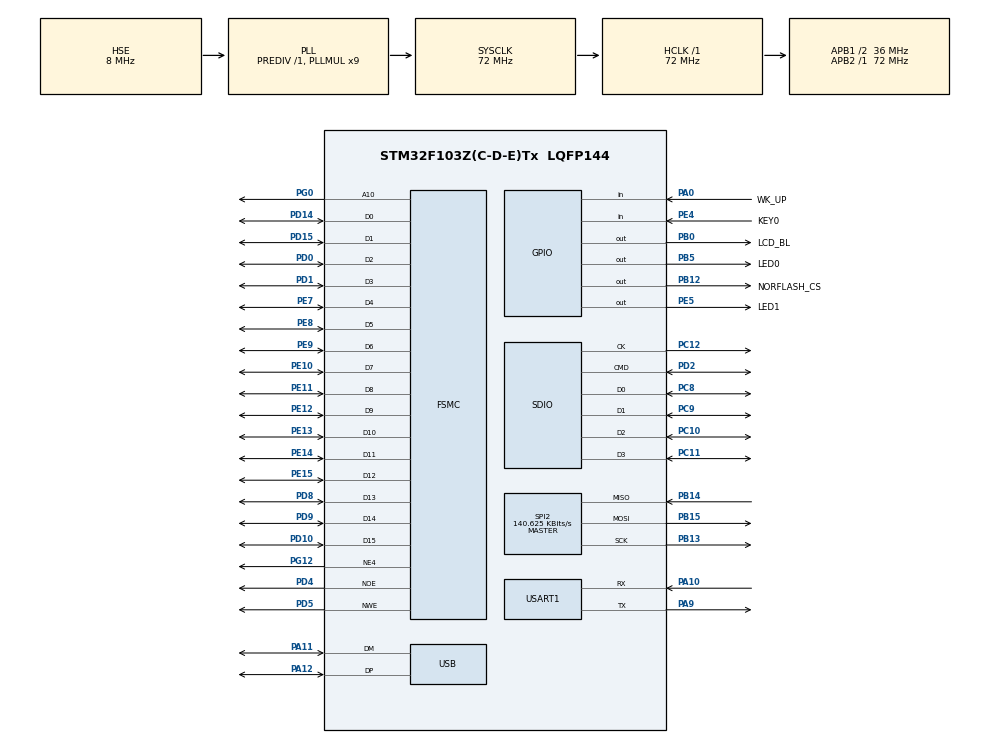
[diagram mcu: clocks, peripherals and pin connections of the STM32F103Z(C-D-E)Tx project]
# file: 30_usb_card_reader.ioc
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FSMC.AddressSetupTime1=0
FSMC.DataSetupTime1=15
FSMC.ExtendedAddressSetupTime1=0
FSMC.ExtendedDataSetupTime1=1
FSMC.ExtendedMode1=FSMC_EXTENDED_MODE_ENABLE
Mcu.Family=STM32F1
Mcu.Name=STM32F103Z(C-D-E)Tx
Mcu.Package=LQFP144
NVIC.PriorityGroup=NVIC_PRIORITYGROUP_2
NVIC.USART1_IRQn=true\:2\:2\:true\:false\:true\:true\:true\:true
NVIC.USB_LP_CAN1_RX0_IRQn=true\:0\:0\:false\:false\:true\:false\:true\:true
OSC_IN.Mode=HSE-External-Oscillator
OSC_IN.Signal=RCC_OSC_IN
OSC_OUT.Mode=HSE-External-Oscillator
OSC_OUT.Signal=RCC_OSC_OUT
PA0-WKUP.GPIO_Label=WK_UP
PA0-WKUP.GPIO_PuPd=GPIO_PULLDOWN
PA0-WKUP.Signal=GPIO_Input
PA10.Mode=Asynchronous
PA10.Signal=USART1_RX
PA11.Mode=Device
PA11.Signal=USB_DM
PA12.Mode=Device
PA12.Signal=USB_DP
PA13.Mode=Serial_Wire
PA13.Signal=SYS_JTMS-SWDIO
PA14.Mode=Serial_Wire
PA14.Signal=SYS_JTCK-SWCLK
PA9.Mode=Asynchronous
PA9.Signal=USART1_TX
PB0.GPIO_Label=LCD_BL
PB0.GPIO_PuPd=GPIO_PULLUP
PB0.GPIO_Speed=GPIO_SPEED_FREQ_HIGH
PB0.PinState=GPIO_PIN_SET
PB0.Signal=GPIO_Output
PB12.GPIO_Label=NORFLASH_CS
PB12.GPIO_PuPd=GPIO_PULLUP
PB12.GPIO_Speed=GPIO_SPEED_FREQ_HIGH
PB12.PinState=GPIO_PIN_SET
PB12.Signal=GPIO_Output
PB13.Mode=Full_Duplex_Master
PB13.Signal=SPI2_SCK
PB14.Mode=Full_Duplex_Master
PB14.Signal=SPI2_MISO
PB15.Mode=Full_Duplex_Master
PB15.Signal=SPI2_MOSI
PB5.GPIO_Label=LED0
PB5.GPIO_PuPd=GPIO_PULLDOWN
PB5.GPIO_Speed=GPIO_SPEED_FREQ_HIGH
PB5.PinState=GPIO_PIN_SET
PB5.Signal=GPIO_Output
PC10.Mode=SD_4_bits_Wide_bus
PC10.Signal=SDIO_D2
PC11.Mode=SD_4_bits_Wide_bus
PC11.Signal=SDIO_D3
PC12.Mode=SD_4_bits_Wide_bus
PC12.Signal=SDIO_CK
PC14-OSC32_IN.Mode=LSE-External-Oscillator
PC14-OSC32_IN.Signal=RCC_OSC32_IN
PC15-OSC32_OUT.Mode=LSE-External-Oscillator
PC15-OSC32_OUT.Signal=RCC_OSC32_OUT
PC8.Mode=SD_4_bits_Wide_bus
PC8.Signal=SDIO_D0
PC9.Mode=SD_4_bits_Wide_bus
PC9.Signal=SDIO_D1
PD0.Signal=FSMC_D2_DA2
PD1.Signal=FSMC_D3_DA3
PD10.Signal=FSMC_D15_DA15
PD14.Signal=FSMC_D0_DA0
PD15.Signal=FSMC_D1_DA1
PD2.Mode=SD_4_bits_Wide_bus
PD2.Signal=SDIO_CMD
PD4.Signal=FSMC_NOE
PD5.Signal=FSMC_NWE
PD8.Signal=FSMC_D13_DA13
PD9.Signal=FSMC_D14_DA14
PE10.Signal=FSMC_D7_DA7
PE11.Signal=FSMC_D8_DA8
PE12.Signal=FSMC_D9_DA9
PE13.Signal=FSMC_D10_DA10
PE14.Signal=FSMC_D11_DA11
PE15.Signal=FSMC_D12_DA12
PE4.GPIO_Label=KEY0
PE4.GPIO_PuPd=GPIO_PULLDOWN
PE4.Signal=GPIO_Input
PE5.GPIO_Label=LED1
PE5.GPIO_PuPd=GPIO_PULLDOWN
PE5.GPIO_Speed=GPIO_SPEED_FREQ_HIGH
PE5.PinState=GPIO_PIN_SET
PE5.Signal=GPIO_Output
PE7.Signal=FSMC_D4_DA4
PE8.Signal=FSMC_D5_DA5
PE9.Signal=FSMC_D6_DA6
PG0.Signal=FSMC_A10
PG12.Mode=NorPsramChipSelect4_1
PG12.Signal=FSMC_NE4
ProjectManager.HeapSize=0x200
ProjectManager.StackSize=0x400
ProjectManager.TargetToolchain=STM32CubeIDE
RCC.AHBFreq_Value=72000000
RCC.APB1CLKDivider=RCC_HCLK_DIV2
RCC.APB1Freq_Value=36000000
RCC.APB1TimFreq_Value=72000000
RCC.APB2Freq_Value=72000000
RCC.APB2TimFreq_Value=72000000
RCC.HCLKFreq_Value=72000000
RCC.PLLMUL=RCC_PLL_MUL9
RCC.PLLSourceVirtual=RCC_PLLSOURCE_HSE
RCC.SYSCLKFreq_VALUE=72000000
RCC.SYSCLKSource=RCC_SYSCLKSOURCE_PLLCLK
RCC.USBFreq_Value=48000000
RCC.USBPrescaler=RCC_USBCLKSOURCE_PLL_DIV1_5
SDIO.ClockDiv=0x06
SDIO.HardwareFlowControl=SDIO_HARDWARE_FLOW_CONTROL_ENABLE
SH.FSMC_A10.0=FSMC_A10,A10_1
SH.FSMC_D0_DA0.0=FSMC_D0,16b-d1
SH.FSMC_D10_DA10.0=FSMC_D10,16b-d1
SH.FSMC_D11_DA11.0=FSMC_D11,16b-d1
SH.FSMC_D12_DA12.0=FSMC_D12,16b-d1
SH.FSMC_D13_DA13.0=FSMC_D13,16b-d1
SH.FSMC_D14_DA14.0=FSMC_D14,16b-d1
SH.FSMC_D15_DA15.0=FSMC_D15,16b-d1
SH.FSMC_D1_DA1.0=FSMC_D1,16b-d1
SH.FSMC_D2_DA2.0=FSMC_D2,16b-d1
SH.FSMC_D3_DA3.0=FSMC_D3,16b-d1
SH.FSMC_D4_DA4.0=FSMC_D4,16b-d1
SH.FSMC_D5_DA5.0=FSMC_D5,16b-d1
SH.FSMC_D6_DA6.0=FSMC_D6,16b-d1
SH.FSMC_D7_DA7.0=FSMC_D7,16b-d1
SH.FSMC_D8_DA8.0=FSMC_D8,16b-d1
SH.FSMC_D9_DA9.0=FSMC_D9,16b-d1
SH.FSMC_NOE.0=FSMC_NOE,Lcd1
SH.FSMC_NWE.0=FSMC_NWE,Lcd1
SPI2.BaudRatePrescaler=SPI_BAUDRATEPRESCALER_256
SPI2.CLKPhase=SPI_PHASE_2EDGE
SPI2.CLKPolarity=SPI_POLARITY_HIGH
SPI2.CalculateBaudRate=140.625 KBits/s
SPI2.Direction=SPI_DIRECTION_2LINES
SPI2.Mode=SPI_MODE_MASTER
SPI2.VirtualType=VM_MASTER
USART1.VirtualMode=VM_ASYNC
USB_DEVICE.CLASS_NAME_FS=MSC
USB_DEVICE.MSC_MEDIA_PACKET=2048
USB_DEVICE.VirtualMode=Msc
USB_DEVICE.VirtualModeFS=Msc_FS
VP_USB_DEVICE_VS_USB_DEVICE_MSC_FS.Mode=MSC_FS
board=custom

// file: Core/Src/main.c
/* USER CODE BEGIN Header */
/**
 ****************************************************************************************************
 * @file        main.c
 * @author      ALIENTEK
 * @brief       usb card reader code
 * @license     Copyright (C) 2012-2024, ALIENTEK
 ****************************************************************************************************
 * @attention
 *
 * platform     : ALIENTEK M144-STM32F103 board
 * website      : www.alientek.com
 * forum        : www.openedv.com/forum.php
 *
 * change logs  :
 * version      data         notes
 * V1.0         20240410     the first version
 *
 ****************************************************************************************************
 */
/* USER CODE END Header */
#include "main.h"
#include "sdio.h"
#include "spi.h"
#include "usart.h"
#include "usb_device.h"
#include "gpio.h"
#include "fsmc.h"

/* USER CODE BEGIN Includes */
#include "usbd_msc.h"
#include "usbd_desc.h"
#include "usbd_storage_if.h"
#include "../../BSP/LED/led.h"
#include "../../BSP/KEY/key.h"
#include "../../BSP/LCD/lcd.h"
#include "../../BSP/NORFLASH/norflash.h"
#include "../../ATK_Middlewares/MALLOC/malloc.h"
/* USER CODE END Includes */

/* USER CODE BEGIN PTD */

extern uint8_t g_sd_error;
extern uint8_t g_sd_sta;
extern volatile uint8_t g_usb_state_reg;    /* USB status */
extern volatile uint8_t g_device_state;     /* USB connection condition */

/* USER CODE END PTD */

void SystemClock_Config(void);

int main(void)
{
  /* USER CODE BEGIN 1 */
    uint16_t norflash_id;
    uint8_t offline_cnt = 0;
    uint8_t t = 0;
    uint8_t usb_sta;
    uint8_t device_sta;
  /* USER CODE END 1 */

  /* MCU Configuration--------------------------------------------------------*/

  /* Reset of all peripherals, Initializes the Flash interface and the Systick. */
  HAL_Init();

  /* Configure the system clock */
  SystemClock_Config();

  /* Initialize all configured peripherals */
  MX_GPIO_Init();
  MX_USART1_UART_Init();
  MX_FSMC_Init();
  MX_SDIO_SD_Init();
  MX_USB_DEVICE_Init();
  MX_SPI2_Init();
  /* USER CODE BEGIN 2 */

  lcd_init();
  norflash_init();                    /* Initialize NOR FLASH */
  my_mem_init(SRAMIN);                /* Initialize the internal SRAM memory pool */

  lcd_show_string(30, 50, 200, 16, 16, "STM32", RED);
  lcd_show_string(30, 70, 200, 16, 16, "USB Card Reader TEST", RED);
  lcd_show_string(30, 90, 200, 16, 16, "ATOM@ALIENTEK", RED);

  if (sd_init() != 0)
  {

      lcd_show_string(30, 110, 200, 16, 16, "SD Card Error!", RED);
  }
  else
  {
      lcd_show_string(30, 110, 200, 16, 16, "SD Card Size:     MB", RED);
      lcd_show_num(134, 110, SD_TOTAL_SIZE_MB(&hsd), 5, 16, RED);
  }

  /* Detects NOR Flash */
  norflash_id = norflash_read_id();
  if ((norflash_id == 0x0000) || (norflash_id == 0xFFFF))
  {
      lcd_show_string(30, 130, 200, 16, 16, "NOR Flash Error!", RED);
  }
  else
  {
      lcd_show_string(30, 130, 200, 16, 16, "NOR Flash Size:12MB", RED);
  }

  lcd_show_string(30, 150, 200, 16, 16, "USB Connecting...", RED);    			/* Indicates that a connection is being established */
  USBD_Init(&hUsbDeviceFS, &FS_Desc, 0);                              			/* Initializes USB */
  USBD_RegisterClass(&hUsbDeviceFS, USBD_MSC_CLASS);                  			/* Adds class */
  USBD_MSC_RegisterStorage(&hUsbDeviceFS, &USBD_Storage_Interface_fops_FS);     /* Add a callback function to the MSC class */
  USBD_Start(&hUsbDeviceFS);                                           			/* Enable USB */
  HAL_Delay(1000);

  /* USER CODE END 2 */

  /* Infinite loop */
  while (1)
  {
      HAL_Delay(1);

      /* Status changed */
      if (usb_sta != g_usb_state_reg)
      {
          lcd_fill(30, 170, 240, 186, WHITE);

          /* Writing */
          if (g_usb_state_reg & 0x01)
          {
              LED1(0);
              lcd_show_string(30, 170, 200, 16, 16, "USB Writing...", RED);
          }

          /* Reading */
          if (g_usb_state_reg & 0x02)
          {
              LED1(0);
              lcd_show_string(30, 170, 200, 16, 16, "USB Reading...", RED);
          }

          /* Write error */
          if (g_usb_state_reg & 0x04)
          {
              lcd_show_string(30, 190, 200, 16, 16, "USB Write Err ", RED);
          }
          else
          {
              lcd_fill(30, 190, 240, 206, WHITE);
          }

          /* Read error */
          if (g_usb_state_reg & 0x08)
          {
              lcd_show_string(30, 210, 200, 16, 16, "USB Read  Err ", RED);
          }
          else
          {
              lcd_fill(30, 210, 240, 226, WHITE);
          }

          usb_sta = g_usb_state_reg;
      }

      /* Connection status changes */
      if (device_sta != g_device_state)
      {
          if (g_device_state == 1)
          {
              lcd_show_string(30, 150, 200, 16, 16, "USB Connected    ", RED);
          }
          else
          {
              lcd_show_string(30, 150, 200, 16, 16, "USB DisConnected ", RED);
          }

          device_sta = g_device_state;
      }

      if (++t == 200)
      {
          t = 0;
          LED1(1);
          LED0_TOGGLE();

          if (g_usb_state_reg & 0x10)
          {
              offline_cnt = 0;
              g_device_state = 1;
          }
          else
          {
              offline_cnt++;

              if (offline_cnt > 10)
              {
                  g_device_state = 0;
              }
          }

          g_usb_state_reg = 0;
      }
  }
}

void SystemClock_Config(void)
{
  RCC_OscInitTypeDef RCC_OscInitStruct = {0};
  RCC_ClkInitTypeDef RCC_ClkInitStruct = {0};
  RCC_PeriphCLKInitTypeDef PeriphClkInit = {0};

  /** Initializes the RCC Oscillators according to the specified parameters
  * in the RCC_OscInitTypeDef structure.
  */
  RCC_OscInitStruct.OscillatorType = RCC_OSCILLATORTYPE_HSE;
  RCC_OscInitStruct.HSEState = RCC_HSE_ON;
  RCC_OscInitStruct.HSEPredivValue = RCC_HSE_PREDIV_DIV1;
  RCC_OscInitStruct.HSIState = RCC_HSI_ON;
  RCC_OscInitStruct.PLL.PLLState = RCC_PLL_ON;
  RCC_OscInitStruct.PLL.PLLSource = RCC_PLLSOURCE_HSE;
  RCC_OscInitStruct.PLL.PLLMUL = RCC_PLL_MUL9;
  if (HAL_RCC_OscConfig(&RCC_OscInitStruct) != HAL_OK)
  {
    Error_Handler();
  }

  /** Initializes the CPU, AHB and APB buses clocks
  */
  RCC_ClkInitStruct.ClockType = RCC_CLOCKTYPE_HCLK|RCC_CLOCKTYPE_SYSCLK
                              |RCC_CLOCKTYPE_PCLK1|RCC_CLOCKTYPE_PCLK2;
  RCC_ClkInitStruct.SYSCLKSource = RCC_SYSCLKSOURCE_PLLCLK;
  RCC_ClkInitStruct.AHBCLKDivider = RCC_SYSCLK_DIV1;
  RCC_ClkInitStruct.APB1CLKDivider = RCC_HCLK_DIV2;
  RCC_ClkInitStruct.APB2CLKDivider = RCC_HCLK_DIV1;

  if (HAL_RCC_ClockConfig(&RCC_ClkInitStruct, FLASH_LATENCY_2) != HAL_OK)
  {
    Error_Handler();
  }
  PeriphClkInit.PeriphClockSelection = RCC_PERIPHCLK_USB;
  PeriphClkInit.UsbClockSelection = RCC_USBCLKSOURCE_PLL_DIV1_5;
  if (HAL_RCCEx_PeriphCLKConfig(&PeriphClkInit) != HAL_OK)
  {
    Error_Handler();
  }
}

void Error_Handler(void)
{
  __disable_irq();
  while (1)
  {
  }
}
